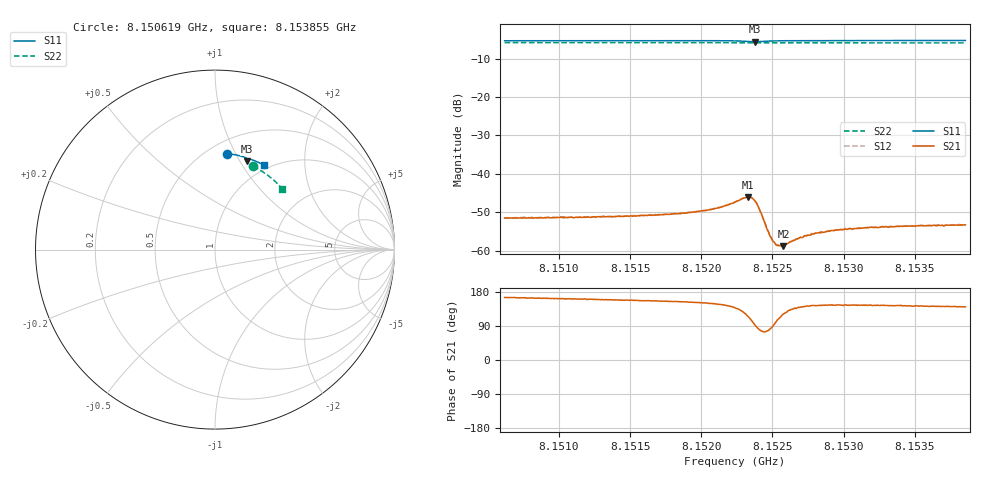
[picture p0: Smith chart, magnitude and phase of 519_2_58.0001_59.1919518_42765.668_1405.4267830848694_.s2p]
#  HZ  S  RI  R  50.00
! Rohde & Schwarz Vector Network Analyzer
! Rohde-Schwarz,ZNB20-2Port,1311601062101988,3.16
! Created: UTC 3/21/2024, 1:13:37 AM
! freq[Hz]  re:S11  im:S11  re:S21  im:S21  re:S12  im:S12  re:S22  im:S22
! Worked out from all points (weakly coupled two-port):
!   401 points, 8.150619 GHz to 8.153855 GHz, reference 50 ohm
!   highest |S21| = -46.05 dB at 8.152326 GHz (marker M1); lowest = -58.8 dB at 8.152577 GHz (marker M2)
!   lowest |S11| = -5.6 dB at 8.152375 GHz (marker M3), VSWR 3.20, Z = 39.5 + j53.6 ohm
!   |S11| at or under -10 dB: nowhere
!   |S22| runs from -5.9 to -5.8 dB; largest |S21 - S12| = 0.00012
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8.150619e9  0.065 0.5349  -0.00258 0.000695  -0.00257 0.00072  0.2128 0.4637
8.1511611e9  0.1027 0.5299  -0.00257 0.000902  -0.00263 0.000934  0.2436 0.4476
8.1517031e9  0.1403 0.5219  -0.00266 0.00122  -0.0027 0.00127  0.273 0.4294
8.1518973e9  0.1541 0.5181  -0.00279 0.0014  -0.00278 0.00143  0.2831 0.4223
8.1520348e9  0.1643 0.5148  -0.00292 0.00166  -0.00292 0.00174  0.2904 0.4172
8.1521319e9  0.1718 0.5114  -0.00307 0.00201  -0.00306 0.00207  0.2953 0.4134
8.152237e9  0.1803 0.5056  -0.00317 0.00289  -0.00319 0.00296  0.3005 0.4091
8.152326e9  0.183 0.4952  -0.00218 0.00448  -0.00216 0.00454  0.305 0.4055
8.1523503e9  0.1806 0.4926  -0.00133 0.00476  -0.00126 0.00479  0.3059 0.4044
8.1523746e9  0.1772 0.4924  -0.000309 0.00452  -0.000266 0.0045  0.3068 0.4034
8.1523988e9  0.1745 0.4946  0.000452 0.00377  0.00049 0.00384  0.3081 0.4028
8.1524717e9  0.1777 0.5028  0.000369 0.00173  0.000382 0.00174  0.3117 0.4004
8.152504e9  0.1811 0.5044  1.87e-06 0.00133  1.8e-05 0.00133  0.3134 0.3991
8.1525202e9  0.1829 0.5046  -0.000173 0.00122  -0.000142 0.00122  0.3142 0.3985
8.1525364e9  0.1845 0.5048  -0.000335 0.00112  -0.000291 0.00117  0.3151 0.3977
8.1525768e9  0.1886 0.5048  -0.000595 0.000983  -0.000593 0.00105  0.3171 0.3962
8.152682e9  0.1976 0.5031  -0.00109 0.000947  -0.0011 0.000964  0.3222 0.3918
8.1527791e9  0.205 0.5011  -0.00134 0.000973  -0.0013 0.00102  0.3268 0.3878
8.1529651e9  0.2181 0.4963  -0.00153 0.00106  -0.00153 0.0011  0.3358 0.3798
8.1530946e9  0.2269 0.4927  -0.00158 0.00115  -0.00159 0.00115  0.3417 0.3741
8.1533211e9  0.2415 0.486  -0.00163 0.00121  -0.00166 0.00124  0.3519 0.3642
8.1538551e9  0.2746 0.4691  -0.00168 0.00139  -0.00164 0.0014  0.3747 0.3393
